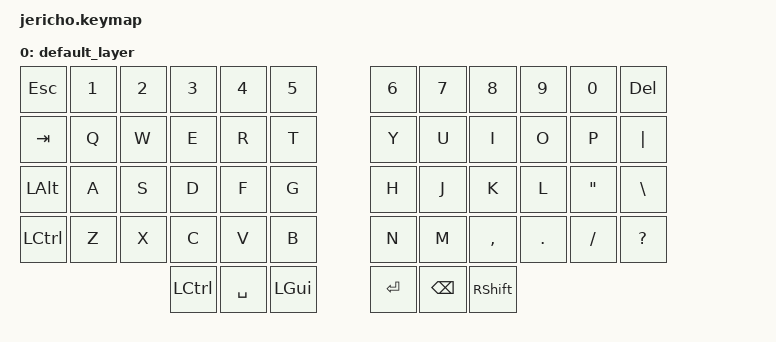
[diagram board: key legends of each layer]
#include <behaviors.dtsi>
#include <dt-bindings/zmk/keys.h>
#include <dt-bindings/zmk/bt.h>

/ {
        keymap {
                compatible = "zmk,keymap";

                default_layer {
// -----------------------------------------------------------------------------------------
// | ESC |  1  |  2  |  3  |  4  |  5  |   |  6  |  7   |  8  |  9  |  0  | BSPC |
// | TAB |  Q  |  W  |  E  |  R  |  T  |   |  Y  |  U   |  I  |  O  |  P  |   |  |
// | DEL |  A  |  S  |  D  |  F  |  G  |   |  H  |  J   |  K  |  L  |  "  |  \   |
// | ALT |  Z  |  X  |  C  |  V  |  B  |   |  N  |  M   |  ,  |  .  |  /  |   ?  |
//                    | CTL | SPC | GUI | | SHFT | BSPC | ENT |
                        bindings = <
   &kp ESC   &kp N1   &kp N2   &kp N3 &kp N4    &kp N5      &kp N6    &kp N7    &kp N8    &kp N9  &kp N0   &kp DEL
   &kp TAB   &kp Q    &kp W    &kp E  &kp R     &kp T       &kp Y     &kp U     &kp I     &kp O   &kp P    &kp PIPE
   &kp LALT  &kp A    &kp S    &kp D  &kp F     &kp G       &kp H     &kp J     &kp K     &kp L   &kp DQT  &kp BSLH
   &kp LCTRL &kp Z    &kp X    &kp C  &kp V     &kp B       &kp N     &kp M     &kp COMMA &kp DOT &kp FSLH &kp QMARK
                          &kp LCTRL &kp SPACE &kp LGUI     &kp RET &kp BSPC  &kp RSHFT
                        >;
                };
//                lower_layer {
// -----------------------------------------------------------------------------------------
// |     | EXCL | AT | HASH|DLRR |PRCNT|   |CARET| AMPS | STAR|     |     |      |
// |     |     |     |     |     |     |   |GRAVE| TILDE|UARW |     |     |      |
// |     | LBRC| RBRC| LPAR| RPAR| LBKT|   | RBKT|LARW  |DARW |RARW |  ;  |      |
// |     |     |     |  <  |  >  |UNDER|   |MINUS| PLUS |EQUAL|     |     |      |
//                    | CTL | SPC | GUI | | SHFT | BSPC | ENT | 
//                        bindings = <
//   &bt BT_SEL 0 &trans   &trans   &trans    &trans    &trans      &trans    &trans    &trans    &trans   &trans &trans
//   &bt BT_SEL 1 &trans   &trans   &trans    &trans    &trans      &kp GRAVE &kp TILDE &kp UARW  &trans   &trans &trans
//   &trans       &kp LBRC &kp RBRC &kp LPAR  &kp RPAR  &kp LBKT    &kp RBKT  &kp LARW  &kp DARW  &kp RARW &trans &trans
//   &trans       &trans   &kp LT   &kp GT    &trans    &kp UNDER   &kp MINUS &kp PLUS  &kp EQUAL &trans   &trans &trans
//                                  &kp LCTRL &kp SPACE &kp LGUI    &kp RSHFT &kp BSPC  &kp RET
//                        >;
//                };
        };
};
